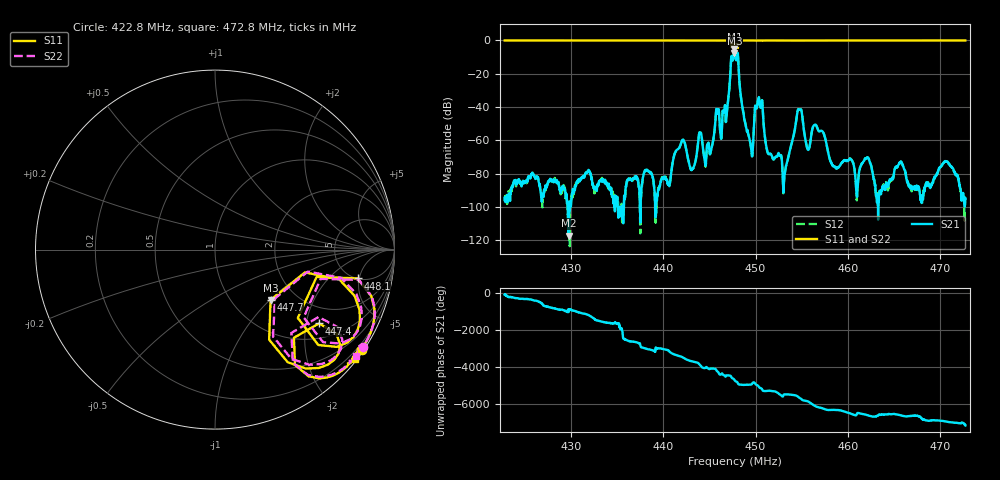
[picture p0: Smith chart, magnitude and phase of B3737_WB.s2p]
! S-parameter for B3737 in Touchstone format with magnitude (lin) and phase
! Normalised impedance: 50 Ohm. Measurement system: 50 Ohm Ta = 25°C
! B3737_WB.s2p not matched. Measurement full 2-port calibrated incl. Port ext.
! Start: 422.77MHz, Stop: 472.77MHz, Span: 50MHz, 1601 Pts., Step: 31.2kHz
! Date:23/03/07 Epcos SAW COM WT AE PD, AB
! Pinning according data sheet recommendation, In P1, Out P4, all others GND
# MHZ S MA R 50
! freq  magS11 angS11  magS21 angS21  magS12 angS12  magS22 angS22
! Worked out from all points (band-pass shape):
!   1601 points, 422.8 MHz to 472.8 MHz, reference 50 ohm
!   highest |S21| = -5.17 dB at 447.7 MHz (marker M1); lowest = -117.2 dB at 429.7 MHz (marker M2)
!   |S21| within 3 dB of the highest: 447.6392 MHz to 447.7883 MHz (149.1 kHz wide, 0.0333 % of centre); 448.0371 MHz to 448.0844 MHz (47.26 kHz wide, 0.0105 % of centre)
!   lowest |S11| = -7.6 dB at 447.7 MHz (marker M3), VSWR 2.44, Z = 74.2 - j50.6 ohm
!   |S11| at or under -10 dB: nowhere
!   |S22| runs from -7.3 to -0.1 dB; largest |S21 - S12| = 0.0015
!   S11 on the Smith chart (normalised r, x): 422.8 MHz: 0.06, -3.23; 447.4 MHz: 1.43, -2.38; 447.7 MHz: 1.48, -1.01; 448.1 MHz: 5.05, -4.72; 472.8 MHz: 0.06, -2.91
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422.77  0.9892 -34.4  1.588e-05 -89.0  1.82e-05 -87.4  0.9878 -33.4
429.7075  0.9887 -35.0  1.374e-06 46.4  5.59e-06 -144.3  0.9873 -34.0
431.1137  0.9884 -35.1  7.237e-05 -3.5  7.302e-05 -6.2  0.987 -34.2
439.4575  0.988 -36.1  3.242e-05 -121.5  3.572e-05 -130.4  0.9864 -35.1
442.0825  0.986 -36.6  0.001033 113.0  0.001025 113.4  0.9844 -35.6
443.0825  0.9874 -36.8  0.0001362 -102.7  0.0001288 -100.3  0.9855 -35.8
445.2075  0.9871 -37.8  0.0005428 -134.2  0.0005485 -134.4  0.9851 -36.9
446.8637  0.9819 -41.4  0.005972 -148.9  0.005959 -148.7  0.9797 -40.5
447.395  0.7109 -35.4  0.3397 99.7  0.3388 99.9  0.6884 -33.0
447.7075  0.4182 -42.3  0.5515 -31.4  0.5504 -31.3  0.4308 -39.1
447.77  0.712 -13.5  0.4392 -80.4  0.438 -80.2  0.7202 -12.6
448.1137  0.8106 -11.4  0.2671 110.2  0.2663 110.4  0.8193 -11.9
449.4887  0.9882 -34.1  0.0006534 70.1  0.0006536 70.6  0.9864 -33.2
450.4575  0.9822 -34.4  0.01193 -99.7  0.0119 -99.5  0.9808 -33.5
451.3325  0.9871 -35.2  0.0004121 94.9  0.0004116 96.0  0.9854 -34.3
453.1137  0.9856 -35.9  7.367e-05 -100.1  7.192e-05 -104.1  0.9833 -35.0
454.7075  0.9789 -36.1  0.008436 94.9  0.008409 95.1  0.9772 -35.2
455.6137  0.9854 -36.1  0.0005673 -104.3  0.0005726 -104.0  0.9827 -35.2
456.1137  0.9833 -36.2  0.001871 100.5  0.001869 100.7  0.9812 -35.3
458.5825  0.9876 -36.5  0.0001557 138.3  0.0001604 136.7  0.9854 -35.6
464.4575  0.9882 -37.2  5.056e-05 -77.9  4.826e-05 -86.3  0.9859 -36.3
472.77  0.9884 -38.0  1.751e-05 16.1  1.588e-05 3.6  0.9858 -37.1
